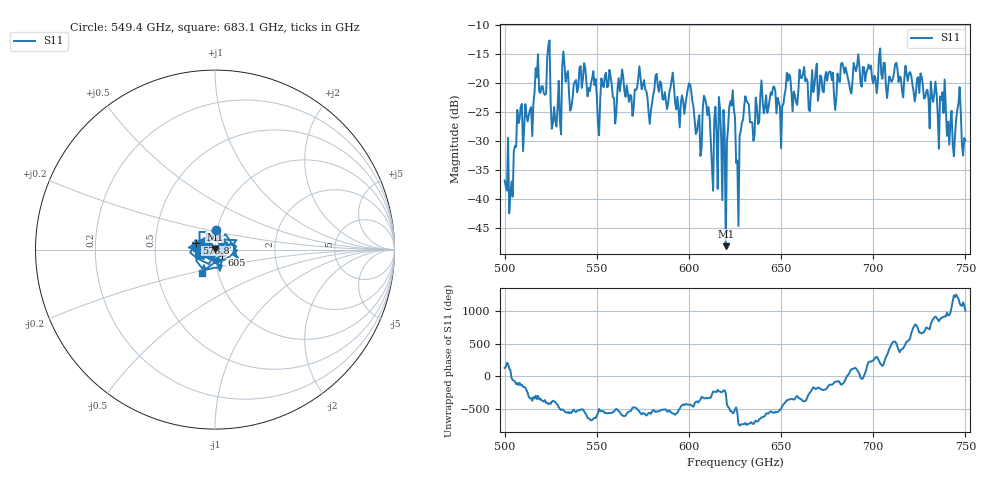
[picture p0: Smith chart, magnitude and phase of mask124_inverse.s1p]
!Created with skrf (http://scikit-rf.org).
# GHz S MA R 50.0
!freq magS11 angS11
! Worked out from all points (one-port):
!   401 points, 500 GHz to 750 GHz, reference 50 ohm
!   lowest |S11| = -48.2 dB at 620 GHz (marker M1), VSWR 1.01, Z = 49.9 + j0.377 ohm
!   |S11| at or under -10 dB: start of sweep to end of sweep
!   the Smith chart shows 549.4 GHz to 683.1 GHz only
!   S11 on the Smith chart (normalised r, x): 549.4 GHz: 0.99, +0.22; 573.8 GHz: 0.81, +0.06; 605 GHz: 1.07, -0.06; 683.1 GHz: 0.84, -0.23
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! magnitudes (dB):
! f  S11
! 500 GHz  -36.8
! 503.8 GHz  -37.0
! 508.1 GHz  -26.2
! 517.5 GHz  -19.0
! 523.8 GHz  -13.5
! 526.9 GHz  -24.1
! 531.2 GHz  -17.2
! 549.4 GHz  -19.3
! 562.5 GHz  -21.4
! 573.8 GHz  -19.1
! 593.8 GHz  -22.4
! 600.6 GHz  -20.2
! 605 GHz  -26.7
! 609.4 GHz  -23.6
! 611.9 GHz  -30.0
! 620 GHz  -48.2
! 623.1 GHz  -23.9
! 625 GHz  -25.9
! 626.9 GHz  -44.7
! 631.2 GHz  -23.0
! 634.4 GHz  -26.8
! 656.2 GHz  -24.9
! 683.1 GHz  -16.5
! 687.5 GHz  -21.2
! 718.8 GHz  -19.6
! 742.5 GHz  -24.8
! 746.2 GHz  -23.6
! 750 GHz  -29.9
